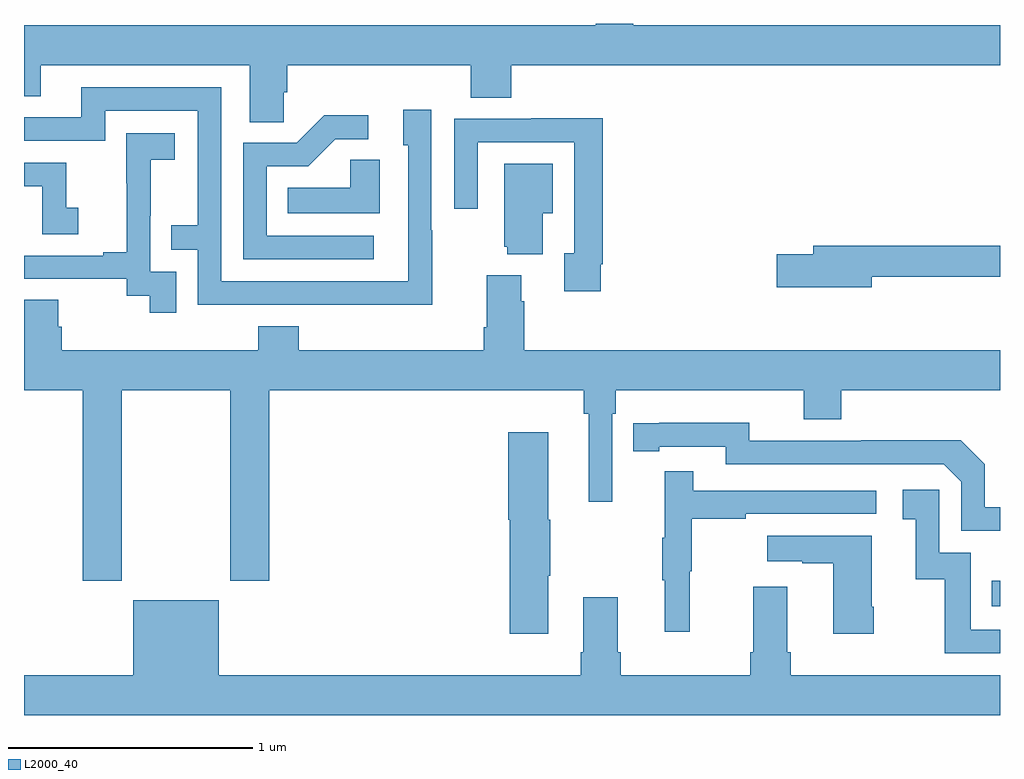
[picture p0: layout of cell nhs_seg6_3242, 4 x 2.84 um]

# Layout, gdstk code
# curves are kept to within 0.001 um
import gdstk
lib = gdstk.Library(unit=1e-6, precision=1e-09)
def R(c, l, rs):  # rectangles x0, y0, x1, y1
    for r in rs: c.add(gdstk.rectangle(r[:2], r[2:], *l))
def P(c, l, *ps):  # polygons
    for p in ps: c.add(gdstk.Polygon(p, *l))
L2000_40 = (2000, 40)

nhs_seg6_3242 = lib.new_cell('nhs_seg6_3242')
R(nhs_seg6_3242, L2000_40, [(304.966,953.112,305,953.217)])
P(nhs_seg6_3242, L2000_40, [(302.064,955.219),(302.078,955.219),(302.078,955.328),(302.831,955.328),(302.831,955.195),(302.996,955.195),(302.996,955.328),(305,955.328),(305,955.492),(303.496,955.492),(303.496,955.5),(303.344,955.5),(303.344,955.492),(301,955.492),(301,955.201),(301.069,955.201),(301.069,955.328),(301.925,955.328),(301.925,955.096),(302.064,955.096)],
  [(302.673,954.653),(302.67,954.653),(302.67,955.147),(302.555,955.147),(302.555,955.002),(302.574,955.002),(302.574,954.444),(301.809,954.444),(301.809,955.239),(301.235,955.239),(301.235,955.116),(301,955.116),(301,955.02),(301.332,955.02),(301.332,955.143),(301.713,955.143),(301.713,954.674),(301.603,954.674),(301.603,954.573),(301.713,954.573),(301.713,954.348),(302.209,954.348),(302.209,954.347),(302.673,954.347)],
  [(302.434,954.63),(301.995,954.63),(301.995,954.915),(302.164,954.915),(302.275,955.026),(302.41,955.026),(302.41,955.124),(302.231,955.124),(302.118,955.011),(301.899,955.011),(301.899,954.534),(302.434,954.534)],
  [(303.364,954.514),(303.371,954.514),(303.371,955.112),(303.079,955.112),(303.079,955.11),(302.763,955.11),(302.763,954.741),(302.859,954.741),(302.859,955.014),(303.255,955.014),(303.255,954.558),(303.215,954.558),(303.215,954.402),(303.364,954.402)],
  [(301.623,954.483),(301.518,954.483),(301.518,954.713),(301.52,954.713),(301.52,954.941),(301.618,954.941),(301.618,955.051),(301.42,955.051),(301.42,954.845),(301.421,954.845),(301.421,954.562),(301.325,954.562),(301.325,954.549),(301,954.549),(301,954.453),(301.422,954.453),(301.422,954.385),(301.515,954.385),(301.515,954.315),(301.623,954.315)],
  [(302.458,954.941),(302.337,954.941),(302.337,954.826),(302.08,954.826),(302.08,954.722),(302.458,954.722)],
  [(301.222,954.745),(301.173,954.745),(301.173,954.93),(301,954.93),(301,954.834),(301.074,954.834),(301.074,954.636),(301.222,954.636)],
  [(303.127,954.722),(303.166,954.722),(303.166,954.925),(302.969,954.925),(302.969,954.585),(302.981,954.585),(302.981,954.554),(303.127,954.554)],
  [(304.474,954.462),(305,954.462),(305,954.59),(304.235,954.59),(304.235,954.554),(304.086,954.554),(304.086,954.419),(304.474,954.419)],
  [(301.401,953.996),(301.846,953.996),(301.846,953.217),(302.006,953.217),(302.006,953.996),(303.295,953.996),(303.295,953.9),(303.314,953.9),(303.314,953.541),(303.411,953.541),(303.411,953.9),(303.425,953.9),(303.425,953.996),(304.196,953.996),(304.196,953.879),(304.349,953.879),(304.349,953.996),(305,953.996),(305,954.16),(303.05,954.16),(303.05,954.362),(303.037,954.362),(303.037,954.469),(302.897,954.469),(302.897,954.256),(302.885,954.256),(302.885,954.16),(302.126,954.16),(302.126,954.259),(301.961,954.259),(301.961,954.16),(301.154,954.16),(301.154,954.258),(301.141,954.258),(301.141,954.368),(301,954.368),(301,953.996),(301.241,953.996),(301.241,953.217),(301.401,953.217)],
  [(305,953.517),(304.938,953.517),(304.938,953.694),(304.84,953.792),(304.432,953.792),(304.432,953.79),(303.972,953.79),(303.972,953.863),(303.496,953.862),(303.496,953.746),(303.604,953.746),(303.604,953.766),(303.876,953.766),(303.876,953.694),(304.77,953.694),(304.842,953.622),(304.842,953.421),(305,953.421)],
  [(303.148,953.236),(303.156,953.236),(303.156,953.466),(303.148,953.466),(303.148,953.824),(302.984,953.824),(302.984,953.466),(302.99,953.466),(302.99,952.998),(303.148,952.998)],
  [(303.728,953.256),(303.736,953.256),(303.736,953.47),(303.959,953.47),(303.959,953.49),(304.492,953.49),(304.492,953.586),(303.743,953.586),(303.743,953.665),(303.626,953.665),(303.626,953.393),(303.615,953.393),(303.615,953.219),(303.626,953.219),(303.626,953.007),(303.728,953.007)],
  [(305,953.016),(304.881,953.016),(304.881,953.331),(304.752,953.331),(304.752,953.59),(304.602,953.59),(304.602,953.469),(304.655,953.469),(304.655,953.223),(304.773,953.223),(304.773,952.92),(305,952.92)],
  [(304.482,953.11),(304.474,953.11),(304.474,953.401),(304.047,953.401),(304.047,953.297),(304.19,953.297),(304.19,953.287),(304.316,953.287),(304.316,952.998),(304.482,952.998)],
  [(305,952.828),(304.142,952.828),(304.142,952.924),(304.129,952.924),(304.129,953.191),(303.989,953.191),(303.989,952.924),(303.977,952.924),(303.977,952.828),(303.446,952.828),(303.446,952.924),(303.433,952.924),(303.433,953.149),(303.293,953.149),(303.293,952.924),(303.281,952.924),(303.281,952.828),(301.798,952.828),(301.798,953.137),(301.448,953.137),(301.448,952.828),(301,952.828),(301,952.664),(305,952.664)])

lib.write_gds('nhs_seg6_3242.gds')
